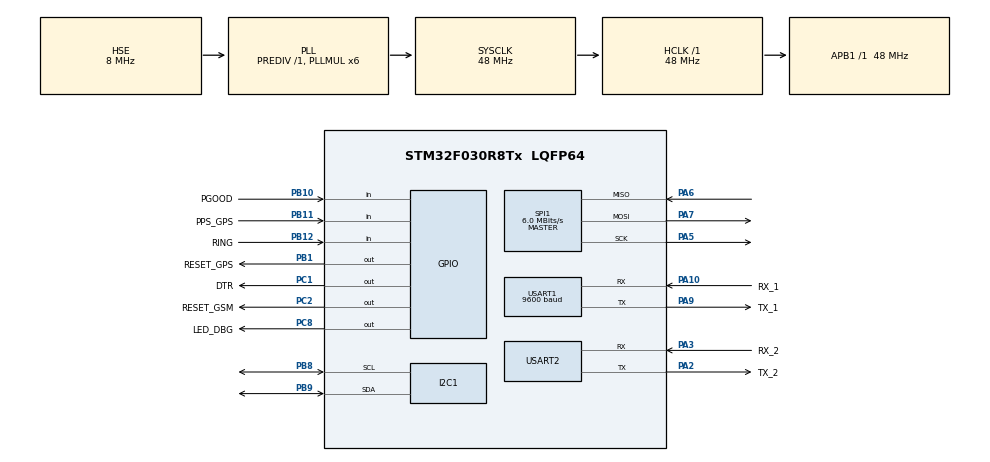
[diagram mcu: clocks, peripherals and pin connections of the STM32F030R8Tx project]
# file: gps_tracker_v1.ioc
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Mcu.Family=STM32F0
RCC.PLLSourceVirtual=RCC_PLLSOURCE_HSE
PA6.Mode=Full_Duplex_Master
PA7.Mode=Full_Duplex_Master
PA10.Mode=Asynchronous
SPI1.VirtualType=VM_MASTER
USART1.BaudRate=9600
PA9.GPIO_Label=TX_1
PC8.Signal=GPIO_Output
PC2.Signal=GPIO_Output
PB11.GPIO_Label=PPS_GPS
PB11.Signal=GPIO_Input
NVIC.USART2_IRQn=true\:0\:0\:false\:false\:true\:true\:true
RCC.SYSCLKSource=RCC_SYSCLKSOURCE_PLLCLK
ProjectManager.StackSize=0x400
PC8.GPIO_Label=LED_DBG
USART1.VirtualMode-Asynchronous=VM_ASYNC
PA3.Mode=Asynchronous
PA13.Signal=SYS_SWDIO
PA9.Mode=Asynchronous
ProjectManager.TargetToolchain=STM32CubeIDE
PB10.GPIO_Label=PGOOD
SPI1.Direction=SPI_DIRECTION_2LINES
RCC.HCLKFreq_Value=48000000
PB9.Mode=I2C
PA9.Signal=USART1_TX
I2C1.Timing=0x20303E5D
SPI1.CalculateBaudRate=6.0 MBits/s
RCC.AHBFreq_Value=48000000
PF0-OSC_IN.Mode=HSE-External-Oscillator
PB10.Signal=GPIO_Input
PA5.Signal=SPI1_SCK
board=custom
USART2.VirtualMode-Asynchronous=VM_ASYNC
RCC.PLLMUL=RCC_PLL_MUL6
PB12.GPIO_Label=RING
SPI1.Mode=SPI_MODE_MASTER
PA14.Mode=Serial_Wire
PB1.GPIO_Label=RESET_GPS
PC1.GPIO_Label=DTR
PA10.GPIO_Label=RX_1
RCC.I2c1ClockSelection=RCC_I2C1CLKSOURCE_SYSCLK
PA13.Mode=Serial_Wire
Mcu.Name=STM32F030R8Tx
PA2.Signal=USART2_TX
RCC.SYSCLKFreq_VALUE=48000000
Mcu.Package=LQFP64
PB9.Signal=I2C1_SDA
PA6.Signal=SPI1_MISO
PB1.Signal=GPIO_Output
PA2.GPIO_Label=TX_2
PA10.Signal=USART1_RX
PA14.Signal=SYS_SWCLK
ProjectManager.HeapSize=0x200
PB8.Mode=I2C
RCC.APB1TimFreq_Value=48000000
PA2.Mode=Asynchronous
PB8.Signal=I2C1_SCL
PF0-OSC_IN.Signal=RCC_OSC_IN
NVIC.USART1_IRQn=true\:0\:0\:false\:false\:true\:true\:true
PF1-OSC_OUT.Mode=HSE-External-Oscillator
RCC.APB1Freq_Value=48000000
SPI1.BaudRatePrescaler=SPI_BAUDRATEPRESCALER_8
PC2.GPIO_Label=RESET_GSM
PC1.Signal=GPIO_Output
PF1-OSC_OUT.Signal=RCC_OSC_OUT
PB12.Signal=GPIO_Input
PA3.GPIO_Label=RX_2
PA3.Signal=USART2_RX
PA7.Signal=SPI1_MOSI
PA5.Mode=Full_Duplex_Master

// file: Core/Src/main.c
/* USER CODE BEGIN Header */
/**
  ******************************************************************************
  * @file           : main.c
  * @brief          : Main program body
  ******************************************************************************
  * @attention
  *
  * <h2><center>&copy; Copyright (c) 2021 STMicroelectronics.
  * All rights reserved.</center></h2>
  *
  * This software component is licensed by ST under BSD 3-Clause license,
  * the "License"; You may not use this file except in compliance with the
  * License. You may obtain a copy of the License at:
  *                        opensource.org/licenses/BSD-3-Clause
  *
  ******************************************************************************
  */
/* USER CODE END Header */
#include "main.h"

I2C_HandleTypeDef hi2c1;

SPI_HandleTypeDef hspi1;

UART_HandleTypeDef huart1;
UART_HandleTypeDef huart2;

/* USER CODE BEGIN PV */

volatile uint8_t pgood = 0;
uint8_t no_fix_message[] = "NO FIX POSITION\r\n";
uint8_t fix_message[] = "GOT FIX!!\r\n";
uint8_t start_message[] = "Beginning acquisition:\r\n.\r\n.\r\n.\r\n";
uint16_t start_message_size = sizeof(start_message);
uint8_t UART1_rxBuffer[RX_BUFFER_SIZE] = {0};

/* USER CODE END PV */

void SystemClock_Config(void);
static void MX_GPIO_Init(void);
static void MX_I2C1_Init(void);
static void MX_SPI1_Init(void);
static void MX_USART1_UART_Init(void);
static void MX_USART2_UART_Init(void);
/* USER CODE BEGIN PFP */
static void PUS_Init(void);
//static uint8_t NMEA_Msg_Parser(uint8_t *msg, uint8_t msg_size);
/* USER CODE END PFP */

int main(void)
{

  /* MCU Configuration--------------------------------------------------------*/

  /* Reset of all peripherals, Initializes the Flash interface and the Systick. */
  HAL_Init();

  /* Configure the system clock */
  SystemClock_Config();

  /* Initialize all configured peripherals */
  MX_GPIO_Init();
  MX_I2C1_Init();
  MX_SPI1_Init();
  MX_USART1_UART_Init();
  MX_USART2_UART_Init();
  /* USER CODE BEGIN 2 */
  PUS_Init();	// Do the power up sequence and check for problems
  HAL_UART_Transmit(&huart2, start_message, start_message_size, 100); // Send starting message
  HAL_UART_Receive_IT(&huart1, UART1_rxBuffer, (uint16_t) RX_BUFFER_SIZE);

  /* USER CODE END 2 */

  /* Infinite loop */
  while (1)
  {
	  //HAL_GPIO_TogglePin(LED_DBG_GPI O_Port, LED_DBG_Pin);
	  //HAL_Delay (500);  // 500 ms delay

  }
}

void SystemClock_Config(void)
{
  RCC_OscInitTypeDef RCC_OscInitStruct = {0};
  RCC_ClkInitTypeDef RCC_ClkInitStruct = {0};
  RCC_PeriphCLKInitTypeDef PeriphClkInit = {0};

  /** Initializes the RCC Oscillators according to the specified parameters
  * in the RCC_OscInitTypeDef structure.
  */
  RCC_OscInitStruct.OscillatorType = RCC_OSCILLATORTYPE_HSE;
  RCC_OscInitStruct.HSEState = RCC_HSE_ON;
  RCC_OscInitStruct.PLL.PLLState = RCC_PLL_ON;
  RCC_OscInitStruct.PLL.PLLSource = RCC_PLLSOURCE_HSE;
  RCC_OscInitStruct.PLL.PLLMUL = RCC_PLL_MUL6;
  RCC_OscInitStruct.PLL.PREDIV = RCC_PREDIV_DIV1;
  if (HAL_RCC_OscConfig(&RCC_OscInitStruct) != HAL_OK)
  {
    Error_Handler();
  }
  /** Initializes the CPU, AHB and APB buses clocks
  */
  RCC_ClkInitStruct.ClockType = RCC_CLOCKTYPE_HCLK|RCC_CLOCKTYPE_SYSCLK
                              |RCC_CLOCKTYPE_PCLK1;
  RCC_ClkInitStruct.SYSCLKSource = RCC_SYSCLKSOURCE_PLLCLK;
  RCC_ClkInitStruct.AHBCLKDivider = RCC_SYSCLK_DIV1;
  RCC_ClkInitStruct.APB1CLKDivider = RCC_HCLK_DIV1;

  if (HAL_RCC_ClockConfig(&RCC_ClkInitStruct, FLASH_LATENCY_1) != HAL_OK)
  {
    Error_Handler();
  }
  PeriphClkInit.PeriphClockSelection = RCC_PERIPHCLK_USART1|RCC_PERIPHCLK_I2C1;
  PeriphClkInit.Usart1ClockSelection = RCC_USART1CLKSOURCE_PCLK1;
  PeriphClkInit.I2c1ClockSelection = RCC_I2C1CLKSOURCE_SYSCLK;
  if (HAL_RCCEx_PeriphCLKConfig(&PeriphClkInit) != HAL_OK)
  {
    Error_Handler();
  }
}

static void MX_I2C1_Init(void)
{

  hi2c1.Instance = I2C1;
  hi2c1.Init.Timing = 0x20303E5D;
  hi2c1.Init.OwnAddress1 = 0;
  hi2c1.Init.AddressingMode = I2C_ADDRESSINGMODE_7BIT;
  hi2c1.Init.DualAddressMode = I2C_DUALADDRESS_DISABLE;
  hi2c1.Init.OwnAddress2 = 0;
  hi2c1.Init.OwnAddress2Masks = I2C_OA2_NOMASK;
  hi2c1.Init.GeneralCallMode = I2C_GENERALCALL_DISABLE;
  hi2c1.Init.NoStretchMode = I2C_NOSTRETCH_DISABLE;
  if (HAL_I2C_Init(&hi2c1) != HAL_OK)
  {
    Error_Handler();
  }
  /** Configure Analogue filter
  */
  if (HAL_I2CEx_ConfigAnalogFilter(&hi2c1, I2C_ANALOGFILTER_ENABLE) != HAL_OK)
  {
    Error_Handler();
  }
  /** Configure Digital filter
  */
  if (HAL_I2CEx_ConfigDigitalFilter(&hi2c1, 0) != HAL_OK)
  {
    Error_Handler();
  }

}

static void MX_SPI1_Init(void)
{

  /* SPI1 parameter configuration*/
  hspi1.Instance = SPI1;
  hspi1.Init.Mode = SPI_MODE_MASTER;
  hspi1.Init.Direction = SPI_DIRECTION_2LINES;
  hspi1.Init.DataSize = SPI_DATASIZE_4BIT;
  hspi1.Init.CLKPolarity = SPI_POLARITY_LOW;
  hspi1.Init.CLKPhase = SPI_PHASE_1EDGE;
  hspi1.Init.NSS = SPI_NSS_SOFT;
  hspi1.Init.BaudRatePrescaler = SPI_BAUDRATEPRESCALER_8;
  hspi1.Init.FirstBit = SPI_FIRSTBIT_MSB;
  hspi1.Init.TIMode = SPI_TIMODE_DISABLE;
  hspi1.Init.CRCCalculation = SPI_CRCCALCULATION_DISABLE;
  hspi1.Init.CRCPolynomial = 7;
  hspi1.Init.CRCLength = SPI_CRC_LENGTH_DATASIZE;
  hspi1.Init.NSSPMode = SPI_NSS_PULSE_ENABLE;
  if (HAL_SPI_Init(&hspi1) != HAL_OK)
  {
    Error_Handler();
  }

}

static void MX_USART1_UART_Init(void)
{

  huart1.Instance = USART1;
  huart1.Init.BaudRate = 9600;
  huart1.Init.WordLength = UART_WORDLENGTH_8B;
  huart1.Init.StopBits = UART_STOPBITS_1;
  huart1.Init.Parity = UART_PARITY_NONE;
  huart1.Init.Mode = UART_MODE_TX_RX;
  huart1.Init.HwFlowCtl = UART_HWCONTROL_NONE;
  huart1.Init.OverSampling = UART_OVERSAMPLING_16;
  huart1.Init.OneBitSampling = UART_ONE_BIT_SAMPLE_DISABLE;
  huart1.AdvancedInit.AdvFeatureInit = UART_ADVFEATURE_NO_INIT;
  if (HAL_UART_Init(&huart1) != HAL_OK)
  {
    Error_Handler();
  }

}

static void MX_USART2_UART_Init(void)
{

  huart2.Instance = USART2;
  huart2.Init.BaudRate = 38400;
  huart2.Init.WordLength = UART_WORDLENGTH_8B;
  huart2.Init.StopBits = UART_STOPBITS_1;
  huart2.Init.Parity = UART_PARITY_NONE;
  huart2.Init.Mode = UART_MODE_TX_RX;
  huart2.Init.HwFlowCtl = UART_HWCONTROL_NONE;
  huart2.Init.OverSampling = UART_OVERSAMPLING_16;
  huart2.Init.OneBitSampling = UART_ONE_BIT_SAMPLE_DISABLE;
  huart2.AdvancedInit.AdvFeatureInit = UART_ADVFEATURE_NO_INIT;
  if (HAL_UART_Init(&huart2) != HAL_OK)
  {
    Error_Handler();
  }

}

static void MX_GPIO_Init(void)
{
  GPIO_InitTypeDef GPIO_InitStruct = {0};

  /* GPIO Ports Clock Enable */
  __HAL_RCC_GPIOF_CLK_ENABLE();
  __HAL_RCC_GPIOC_CLK_ENABLE();
  __HAL_RCC_GPIOA_CLK_ENABLE();
  __HAL_RCC_GPIOB_CLK_ENABLE();

  /*Configure GPIO pin Output Level */
  HAL_GPIO_WritePin(GPIOC, DTR_Pin|RESET_GSM_Pin|LED_DBG_Pin, GPIO_PIN_RESET);

  /*Configure GPIO pin Output Level */
  HAL_GPIO_WritePin(RESET_GPS_GPIO_Port, RESET_GPS_Pin, GPIO_PIN_RESET);

  /*Configure GPIO pins : DTR_Pin RESET_GSM_Pin LED_DBG_Pin */
  GPIO_InitStruct.Pin = DTR_Pin|RESET_GSM_Pin|LED_DBG_Pin;
  GPIO_InitStruct.Mode = GPIO_MODE_OUTPUT_PP;
  GPIO_InitStruct.Pull = GPIO_NOPULL;
  GPIO_InitStruct.Speed = GPIO_SPEED_FREQ_LOW;
  HAL_GPIO_Init(GPIOC, &GPIO_InitStruct);

  /*Configure GPIO pin : RESET_GPS_Pin */
  GPIO_InitStruct.Pin = RESET_GPS_Pin;
  GPIO_InitStruct.Mode = GPIO_MODE_OUTPUT_PP;
  GPIO_InitStruct.Pull = GPIO_NOPULL;
  GPIO_InitStruct.Speed = GPIO_SPEED_FREQ_LOW;
  HAL_GPIO_Init(RESET_GPS_GPIO_Port, &GPIO_InitStruct);

  /*Configure GPIO pins : PGOOD_Pin PPS_GPS_Pin RING_Pin */
  GPIO_InitStruct.Pin = PGOOD_Pin|PPS_GPS_Pin|RING_Pin;
  GPIO_InitStruct.Mode = GPIO_MODE_INPUT;
  GPIO_InitStruct.Pull = GPIO_NOPULL;
  HAL_GPIO_Init(GPIOB, &GPIO_InitStruct);

}

/* USER CODE BEGIN 4 */

/**
  * @brief  This function is establishes the power up sequence.
  * 		Reset GSM module
  * 		Reset GPS module
  * 		Check PGOOD
  * 		If PGOOD is ok, blink LED 3 times
  * @retval None
  */
static void PUS_Init(void)
{
	HAL_GPIO_WritePin(RESET_GSM_GPIO_Port, RESET_GSM_Pin, GPIO_PIN_SET);
	HAL_GPIO_WritePin(RESET_GPS_GPIO_Port, RESET_GPS_Pin, GPIO_PIN_SET);
	HAL_Delay(100);
	HAL_GPIO_WritePin(RESET_GSM_GPIO_Port, RESET_GSM_Pin, GPIO_PIN_RESET);
	HAL_GPIO_WritePin(RESET_GPS_GPIO_Port, RESET_GPS_Pin, GPIO_PIN_RESET);
	if(HAL_GPIO_ReadPin(PGOOD_GPIO_Port, PGOOD_Pin))
	{
		pgood = 1;
		HAL_GPIO_WritePin(LED_DBG_GPIO_Port, LED_DBG_Pin, GPIO_PIN_SET);
		HAL_Delay(250);
		HAL_GPIO_WritePin(LED_DBG_GPIO_Port, LED_DBG_Pin, GPIO_PIN_RESET);
		HAL_Delay(150);
		HAL_GPIO_WritePin(LED_DBG_GPIO_Port, LED_DBG_Pin, GPIO_PIN_SET);
		HAL_Delay(250);
		HAL_GPIO_WritePin(LED_DBG_GPIO_Port, LED_DBG_Pin, GPIO_PIN_RESET);
		HAL_Delay(150);
		HAL_GPIO_WritePin(LED_DBG_GPIO_Port, LED_DBG_Pin, GPIO_PIN_SET);
		HAL_Delay(250);
		HAL_GPIO_WritePin(LED_DBG_GPIO_Port, LED_DBG_Pin, GPIO_PIN_RESET);
	} else {
		pgood = 0;
		HAL_GPIO_WritePin(LED_DBG_GPIO_Port, LED_DBG_Pin, GPIO_PIN_SET);
	}

}

/**
  * @brief  This function parses the NMEA messages and extracts the current GPS data.
  * 		Data is parsed from the NMEA messages GPRMC for location, speed and date and time
  * 		Data is parsed from NMEA messages GPGGA for location, and signal quality
  * @retval None
  */
static uint8_t NMEA_Msg_Parser(uint8_t *msg, uint8_t msg_size)
{
	return 1;
}

void HAL_UART_RxCpltCallback(UART_HandleTypeDef *huart)
{

	if(NMEA_Msg_Parser(UART1_rxBuffer, (uint8_t)RX_BUFFER_SIZE))
	{
		HAL_UART_Transmit(&huart2, fix_message, sizeof(fix_message), 100);
	} else {
		HAL_UART_Transmit(&huart2, no_fix_message, sizeof(no_fix_message), 100);
	}
	//HAL_UART_Transmit(&huart2, UART1_rxBuffer, RX_BUFFER_SIZE, 100);
	HAL_UART_Receive_IT(&huart1, UART1_rxBuffer, (uint16_t) RX_BUFFER_SIZE);
}
/* USER CODE END 4 */

void Error_Handler(void)
{
  __disable_irq();
  while (1)
  {
  }
}

/************************ (C) COPYRIGHT STMicroelectronics *****END OF FILE****/
